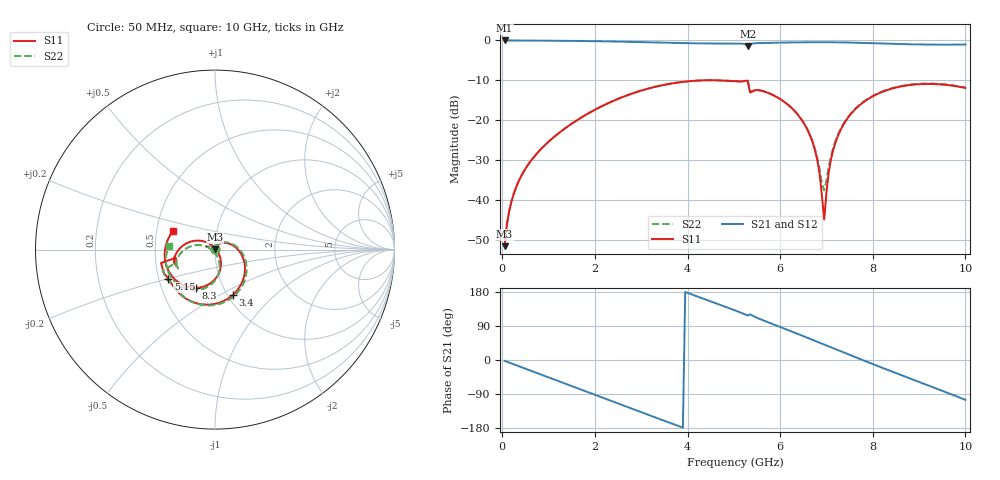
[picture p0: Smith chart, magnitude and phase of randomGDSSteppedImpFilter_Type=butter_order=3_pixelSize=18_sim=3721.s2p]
! freq	dB(S11)	phase(S11)	dB(S12)	phase(S12)
!  dB(S21)	phase(S21)	dB(S22)	phase(S22)
!S-par simulation data
#  GHz  S  DB  R 50
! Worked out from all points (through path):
!   200 points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, 50 MHz to 10 GHz, reference 50 ohm
!   highest |S21| = 0.00 dB at 50 MHz (marker M1); lowest = -1.4 dB at 5.3 GHz (marker M2)
!   group delay of S21, straight-line fit = 129 ps
!   lowest |S11| = -51.5 dB at 50 MHz (marker M3), VSWR 1.01, Z = 50 + j0.261 ohm
!   |S11| at or under -10 dB: start of sweep to 4.326 GHz; 4.678 GHz to end of sweep
!   |S22| runs from -51.5 to -9.9 dB; largest |S21 - S12| = 0
!   S11 on the Smith chart (normalised r, x): 50 MHz: 1.00, +0.01; 3.4 GHz: 1.06, -0.58; 5.15 GHz: 0.56, -0.20; 8.3 GHz: 0.74, -0.34; 10 GHz: 0.61, +0.14
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0.05  -51.51 79.2  -0.00 -2.3  -0.00 -2.3  -51.50 80.3
0.2  -40.23 77.5  -0.02 -9.2  -0.02 -9.2  -40.24 78.1
0.5  -32.11 65.6  -0.03 -23.0  -0.03 -23.0  -32.12 67.2
1.75  -19.00 8.0  -0.14 -80.5  -0.14 -80.5  -18.98 12.0
2.5  -14.63 -26.8  -0.29 -115.0  -0.29 -115.0  -14.61 -22.2
3.4  -11.35 -68.1  -0.53 -156.0  -0.53 -156.0  -11.34 -63.0
4.2  -10.07 -103.9  -0.72 168.2  -0.72 168.2  -10.05 -98.3
5.05  -10.25 -142.5  -0.78 129.8  -0.78 129.8  -10.23 -135.6
5.15  -10.27 -147.8  -0.80 125.0  -0.80 125.0  -10.25 -140.5
5.3  -10.18 -166.1  -1.37 117.4  -1.37 117.4  -10.03 -157.9
5.35  -13.03 -168.2  -1.20 120.4  -1.20 120.4  -12.77 -161.4
6.25  -16.94 161.8  -0.50 75.2  -0.50 75.2  -16.91 173.7
6.7  -25.47 136.1  -0.44 53.2  -0.44 53.2  -25.32 161.1
6.85  -33.24 120.0  -0.43 45.8  -0.43 45.8  -32.25 172.5
6.95  -44.85 34.6  -0.44 40.8  -0.44 40.8  -37.55 -130.5
7.1  -29.63 -48.5  -0.45 33.4  -0.45 33.4  -28.92 -73.6
7.3  -22.53 -63.9  -0.48 23.5  -0.48 23.5  -22.31 -71.5
7.7  -16.38 -86.1  -0.59 3.8  -0.59 3.8  -16.27 -85.5
8.3  -12.46 -116.5  -0.81 -25.1  -0.81 -25.1  -12.37 -111.4
8.35  -12.27 -119.0  -0.83 -27.5  -0.83 -27.5  -12.18 -113.6
9.2  -10.89 -161.4  -1.04 -67.2  -1.04 -67.2  -10.79 -150.4
10  -11.89 155.6  -1.02 -105.1  -1.02 -105.1  -11.80 175.5
